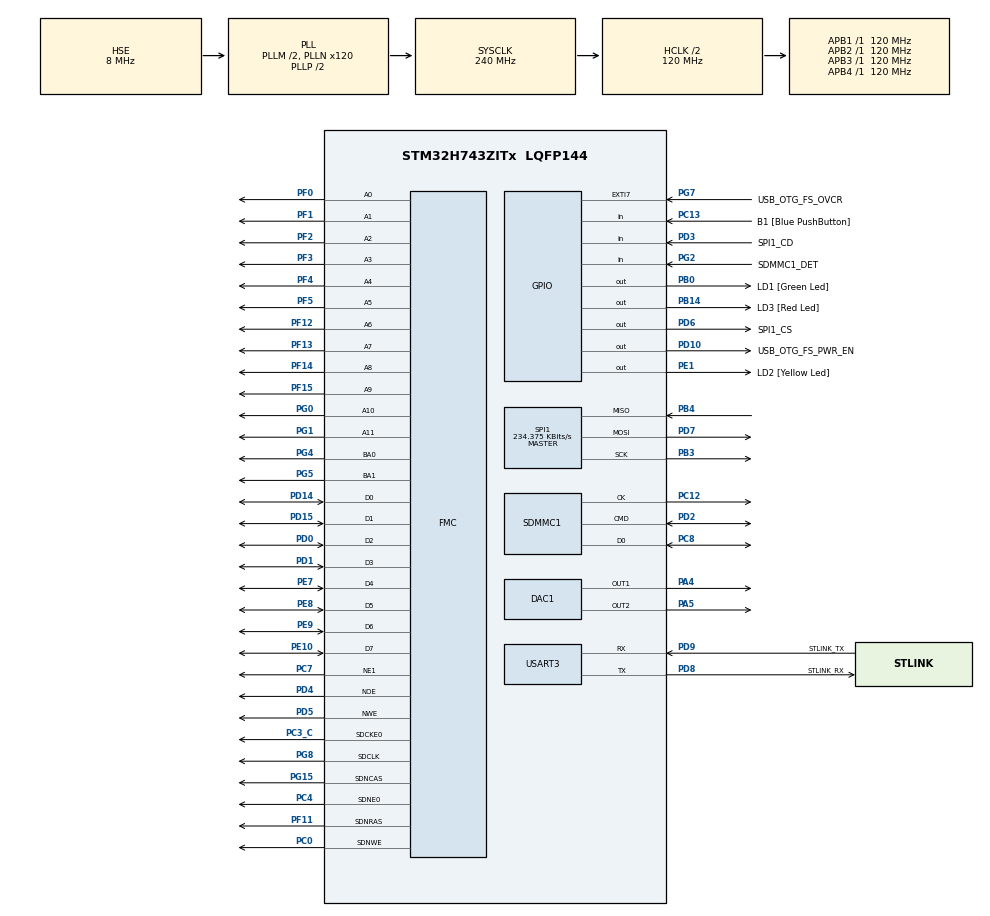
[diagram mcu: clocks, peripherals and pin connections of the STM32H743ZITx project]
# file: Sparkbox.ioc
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DAC1.DAC_Channel-DAC_OUT1=DAC_CHANNEL_1
DAC1.DAC_Channel-DAC_OUT2=DAC_CHANNEL_2
DAC1.DAC_Trigger-DAC_OUT1=DAC_TRIGGER_T6_TRGO
DAC1.DAC_Trigger-DAC_OUT2=DAC_TRIGGER_T6_TRGO
FATFS.BSP.number=1
FATFS._FS_REENTRANT=1
FATFS._USE_MUTEX=1
FATFS0.BSP.STBoard=false
FATFS0.BSP.api=Unknown
FATFS0.BSP.i2caddr=0
FATFS0.BSP.instance=PG2
FATFS0.BSP.ip=GPIO
FATFS0.BSP.mode=Input
FATFS0.BSP.name=Detect_SDIO
FATFS0.BSP.solution=PG2
FMC.CASLatency1=FMC_SDRAM_CAS_LATENCY_3
FMC.WriteOperation1=FMC_WRITE_OPERATION_ENABLE
FREERTOS.Tasks01=defaultTask,24,128,StartDefaultTask,Default,NULL,Dynamic,NULL,NULL;sdCardTask,8,1024,sdCardTaskFcn,Default,NULL,Dynamic,NULL,NULL
FREERTOS.configUSE_NEWLIB_REENTRANT=0
Mcu.Family=STM32H7
Mcu.Name=STM32H743ZITx
Mcu.Package=LQFP144
Mdma.MDMA_Channel0.Request0=SW
Mdma.MDMA_Channel0.RequestsNb=1
Mdma.MDMA_Channel0.SW.0.BlockCount=0
Mdma.MDMA_Channel0.SW.0.BlockDataLength=0
Mdma.MDMA_Channel0.SW.0.BufferTransferLength=1
Mdma.MDMA_Channel0.SW.0.CircularMode=MDMA_LINEAR_LIST
Mdma.MDMA_Channel0.SW.0.DataAlignment=MDMA_DATAALIGN_PACKENABLE
Mdma.MDMA_Channel0.SW.0.DestBlockAddressOffset=0
Mdma.MDMA_Channel0.SW.0.DestBurst=MDMA_DEST_BURST_SINGLE
Mdma.MDMA_Channel0.SW.0.DestDataSize=MDMA_DEST_DATASIZE_BYTE
Mdma.MDMA_Channel0.SW.0.DestinationInc=MDMA_DEST_INC_BYTE
Mdma.MDMA_Channel0.SW.0.DstAddress=0
Mdma.MDMA_Channel0.SW.0.Endianness=MDMA_LITTLE_ENDIANNESS_PRESERVE
Mdma.MDMA_Channel0.SW.0.Instance=MDMA_Channel0
Mdma.MDMA_Channel0.SW.0.MaskAddress=0
Mdma.MDMA_Channel0.SW.0.MaskData=0
Mdma.MDMA_Channel0.SW.0.Priority=MDMA_PRIORITY_HIGH
Mdma.MDMA_Channel0.SW.0.Rank=First
Mdma.MDMA_Channel0.SW.0.SourceBlockAddressOffset=0
Mdma.MDMA_Channel0.SW.0.SourceBurst=MDMA_SOURCE_BURST_SINGLE
Mdma.MDMA_Channel0.SW.0.SourceDataSize=MDMA_SRC_DATASIZE_BYTE
Mdma.MDMA_Channel0.SW.0.SourceInc=MDMA_SRC_INC_BYTE
Mdma.MDMA_Channel0.SW.0.SrcAddress=0
Mdma.MDMA_Channel0.SW.0.TransferTriggerMode=MDMA_BUFFER_TRANSFER
Mdma.MDMA_Channel1.Request0=SW
Mdma.MDMA_Channel1.RequestsNb=1
Mdma.MDMA_Channel1.SW.0.BlockCount=0
Mdma.MDMA_Channel1.SW.0.BlockDataLength=0
Mdma.MDMA_Channel1.SW.0.BufferTransferLength=1
Mdma.MDMA_Channel1.SW.0.CircularMode=MDMA_LINEAR_LIST
Mdma.MDMA_Channel1.SW.0.DataAlignment=MDMA_DATAALIGN_PACKENABLE
Mdma.MDMA_Channel1.SW.0.DestBlockAddressOffset=0
Mdma.MDMA_Channel1.SW.0.DestBurst=MDMA_DEST_BURST_SINGLE
Mdma.MDMA_Channel1.SW.0.DestDataSize=MDMA_DEST_DATASIZE_BYTE
Mdma.MDMA_Channel1.SW.0.DestinationInc=MDMA_DEST_INC_BYTE
Mdma.MDMA_Channel1.SW.0.DstAddress=0
Mdma.MDMA_Channel1.SW.0.Endianness=MDMA_LITTLE_ENDIANNESS_PRESERVE
Mdma.MDMA_Channel1.SW.0.Instance=MDMA_Channel1
Mdma.MDMA_Channel1.SW.0.MaskAddress=0
Mdma.MDMA_Channel1.SW.0.MaskData=0
Mdma.MDMA_Channel1.SW.0.Priority=MDMA_PRIORITY_LOW
Mdma.MDMA_Channel1.SW.0.Rank=First
Mdma.MDMA_Channel1.SW.0.SourceBlockAddressOffset=0
Mdma.MDMA_Channel1.SW.0.SourceBurst=MDMA_SOURCE_BURST_SINGLE
Mdma.MDMA_Channel1.SW.0.SourceDataSize=MDMA_SRC_DATASIZE_BYTE
Mdma.MDMA_Channel1.SW.0.SourceInc=MDMA_SRC_INC_BYTE
Mdma.MDMA_Channel1.SW.0.SrcAddress=0
Mdma.MDMA_Channel1.SW.0.TransferTriggerMode=MDMA_BUFFER_TRANSFER
Mdma.RequestSet0=MDMA_Channel0
Mdma.RequestSet1=MDMA_Channel1
Mdma.RequestSetsNb=2
NVIC.MDMA_IRQn=true\:5\:0\:false\:false\:true\:true\:false\:true
NVIC.PriorityGroup=NVIC_PRIORITYGROUP_4
NVIC.SDMMC1_IRQn=true\:5\:0\:false\:false\:true\:true\:true\:true
NVIC.TIM6_DAC_IRQn=true\:5\:0\:false\:false\:true\:true\:true\:true
NVIC.TIM7_IRQn=true\:15\:0\:false\:false\:true\:false\:false\:true
NVIC.TimeBase=TIM7_IRQn
NVIC.TimeBaseIP=TIM7
PA4.Signal=COMP_DAC11_group
PA5.Signal=COMP_DAC12_group
PB0.GPIO_Label=LD1 [Green Led]
PB0.Signal=GPIO_Output
PB14.GPIO_Label=LD3 [Red Led]
PB14.PinAttribute=Free
PB14.Signal=GPIO_Output
PB3\ (JTDO/TRACESWO).Mode=Full_Duplex_Master
PB3\ (JTDO/TRACESWO).Signal=SPI1_SCK
PB4\ (NJTRST).Mode=Full_Duplex_Master
PB4\ (NJTRST).Signal=SPI1_MISO
PC0.Signal=FMC_SDNWE
PC12.Mode=SD_1_bit
PC12.Signal=SDMMC1_CK
PC13.GPIO_Label=B1 [Blue PushButton]
PC13.Signal=GPIO_Input
PC14-OSC32_IN\ (OSC32_IN).Mode=LSE-External-Oscillator
PC14-OSC32_IN\ (OSC32_IN).Signal=RCC_OSC32_IN
PC15-OSC32_OUT\ (OSC32_OUT).Mode=LSE-External-Oscillator
PC15-OSC32_OUT\ (OSC32_OUT).Signal=RCC_OSC32_OUT
PC3_C.Mode=SdramChipSelect1_1
PC3_C.Signal=FMC_SDCKE0
PC4.Mode=SdramChipSelect1_1
PC4.Signal=FMC_SDNE0
PC7.Mode=NorPsramChipSelect1_1
PC7.Signal=FMC_NE1
PC8.Mode=SD_1_bit
PC8.Signal=SDMMC1_D0
PD0.Signal=FMC_D2_DA2
PD1.Signal=FMC_D3_DA3
PD10.GPIO_Label=USB_OTG_FS_PWR_EN
PD10.Signal=GPIO_Output
PD14.Signal=FMC_D0_DA0
PD15.Signal=FMC_D1_DA1
PD2.Mode=SD_1_bit
PD2.Signal=SDMMC1_CMD
PD3.GPIO_Label=SPI1_CD
PD3.Signal=GPIO_Input
PD4.Signal=FMC_NOE
PD5.Signal=FMC_NWE
PD6.GPIO_Label=SPI1_CS
PD6.Signal=GPIO_Output
PD7.Mode=Full_Duplex_Master
PD7.Signal=SPI1_MOSI
PD8.GPIO_Label=STLINK_RX
PD8.Mode=Asynchronous
PD8.Signal=USART3_TX
PD9.GPIO_Label=STLINK_TX
PD9.Mode=Asynchronous
PD9.Signal=USART3_RX
PE1.GPIO_Label=LD2 [Yellow Led]
PE1.Signal=GPIO_Output
PE10.Signal=FMC_D7_DA7
PE7.Signal=FMC_D4_DA4
PE8.Signal=FMC_D5_DA5
PE9.Signal=FMC_D6_DA6
PF0.Signal=FMC_A0
PF1.Signal=FMC_A1
PF11.Signal=FMC_SDNRAS
PF12.Signal=FMC_A6
PF13.Signal=FMC_A7
PF14.Signal=FMC_A8
PF15.Signal=FMC_A9
PF2.Signal=FMC_A2
PF3.Signal=FMC_A3
PF4.Signal=FMC_A4
PF5.Signal=FMC_A5
PG0.Signal=FMC_A10
PG1.Signal=FMC_A11
PG15.Signal=FMC_SDNCAS
PG2.GPIO_Label=SDMMC1_DET
PG2.Signal=GPIO_Input
PG4.Signal=FMC_A14_BA0
PG5.Signal=FMC_A15_BA1
PG7.GPIO_Label=USB_OTG_FS_OVCR
PG7.Signal=GPXTI7
PG8.Signal=FMC_SDCLK
PH0-OSC_IN\ (PH0).Mode=HSE-External-Clock-Source
PH0-OSC_IN\ (PH0).Signal=RCC_OSC_IN
PH1-OSC_OUT\ (PH1).Signal=RCC_OSC_OUT
ProjectManager.HeapSize=0x200
ProjectManager.StackSize=0x400
ProjectManager.TargetToolchain=STM32CubeIDE
RCC.ADCFreq_Value=96000000
RCC.APB1Freq_Value=120000000
RCC.APB2Freq_Value=120000000
RCC.APB3Freq_Value=120000000
RCC.APB4Freq_Value=120000000
RCC.CortexFreq_Value=240000000
RCC.DIVM1=2
RCC.DIVM2=2
RCC.DIVN1=120
RCC.DIVN2=48
RCC.DIVN3=128
RCC.DIVQ1=4
RCC.DIVQ2=4
RCC.DIVR2=4
RCC.FMCCLockSelection=RCC_FMCCLKSOURCE_PLL2
RCC.HCLKFreq_Value=120000000
RCC.HPRE=RCC_HCLK_DIV2
RCC.HSE_VALUE=8000000
RCC.PLL1_VCI_Range-AdvancedSettings=RCC_PLL1VCIRANGE_0
RCC.PLL1_VCO_SEL-AdvancedSettings=RCC_PLL1VCOWIDE
RCC.PLL3_VCO_SEL-AdvancedSettings=RCC_PLL3VCOWIDE
RCC.PLLFRACN=0
RCC.PLLSourceVirtual=RCC_PLLSOURCE_HSE
RCC.PWR_Regulator_Voltage_Scale=PWR_REGULATOR_VOLTAGE_SCALE2
RCC.SDMMC1CLockSelection=RCC_SDMMCCLKSOURCE_PLL2
RCC.SYSCLKFreq_VALUE=240000000
RCC.SYSCLKSource=RCC_SYSCLKSOURCE_PLLCLK
RCC.USART234578CLockSelection=RCC_USART234578CLKSOURCE_PLL2
RCC.USBFreq_Value=120000000
SH.COMP_DAC11_group.0=DAC1_OUT1,DAC_OUT1
SH.COMP_DAC12_group.0=DAC1_OUT2,DAC_OUT2
SH.FMC_A0.0=FMC_A0,12b-sda1
SH.FMC_A0.1=FMC_A0,12b-a1
SH.FMC_A1.0=FMC_A1,12b-sda1
SH.FMC_A1.1=FMC_A1,12b-a1
SH.FMC_A10.0=FMC_A10,12b-sda1
SH.FMC_A10.1=FMC_A10,12b-a1
SH.FMC_A11.0=FMC_A11,12b-sda1
SH.FMC_A11.1=FMC_A11,12b-a1
SH.FMC_A14_BA0.0=FMC_BA0,FourSdramBanks1
SH.FMC_A15_BA1.0=FMC_BA1,FourSdramBanks1
SH.FMC_A2.0=FMC_A2,12b-sda1
SH.FMC_A2.1=FMC_A2,12b-a1
SH.FMC_A3.0=FMC_A3,12b-sda1
SH.FMC_A3.1=FMC_A3,12b-a1
SH.FMC_A4.0=FMC_A4,12b-sda1
SH.FMC_A4.1=FMC_A4,12b-a1
SH.FMC_A5.0=FMC_A5,12b-sda1
SH.FMC_A5.1=FMC_A5,12b-a1
SH.FMC_A6.0=FMC_A6,12b-sda1
SH.FMC_A6.1=FMC_A6,12b-a1
SH.FMC_A7.0=FMC_A7,12b-sda1
SH.FMC_A7.1=FMC_A7,12b-a1
SH.FMC_A8.0=FMC_A8,12b-sda1
SH.FMC_A8.1=FMC_A8,12b-a1
SH.FMC_A9.0=FMC_A9,12b-sda1
SH.FMC_A9.1=FMC_A9,12b-a1
SH.FMC_D0_DA0.0=FMC_D0,sd-8b-d1
SH.FMC_D0_DA0.1=FMC_D0,8b-d1
SH.FMC_D1_DA1.0=FMC_D1,sd-8b-d1
SH.FMC_D1_DA1.1=FMC_D1,8b-d1
SH.FMC_D2_DA2.0=FMC_D2,sd-8b-d1
SH.FMC_D2_DA2.1=FMC_D2,8b-d1
SH.FMC_D3_DA3.0=FMC_D3,sd-8b-d1
SH.FMC_D3_DA3.1=FMC_D3,8b-d1
SH.FMC_D4_DA4.0=FMC_D4,sd-8b-d1
SH.FMC_D4_DA4.1=FMC_D4,8b-d1
SH.FMC_D5_DA5.0=FMC_D5,sd-8b-d1
SH.FMC_D5_DA5.1=FMC_D5,8b-d1
SH.FMC_D6_DA6.0=FMC_D6,sd-8b-d1
SH.FMC_D6_DA6.1=FMC_D6,8b-d1
SH.FMC_D7_DA7.0=FMC_D7,sd-8b-d1
SH.FMC_D7_DA7.1=FMC_D7,8b-d1
SH.FMC_NOE.0=FMC_NOE,Sram1
SH.FMC_NWE.0=FMC_NWE,Sram1
SH.FMC_SDCLK.0=FMC_SDCLK,12b-sda1
SH.FMC_SDNCAS.0=FMC_SDNCAS,12b-sda1
SH.FMC_SDNRAS.0=FMC_SDNRAS,12b-sda1
SH.FMC_SDNWE.0=FMC_SDNWE,12b-sda1
SPI1.BaudRatePrescaler=SPI_BAUDRATEPRESCALER_256
SPI1.CalculateBaudRate=234.375 KBits/s
SPI1.DataSize=SPI_DATASIZE_8BIT
SPI1.Direction=SPI_DIRECTION_2LINES
SPI1.Mode=SPI_MODE_MASTER
SPI1.VirtualType=VM_MASTER
TIM6.AutoReloadPreload=TIM_AUTORELOAD_PRELOAD_ENABLE
TIM6.Period=24
TIM6.Prescaler=99
TIM6.TIM_MasterOutputTrigger=TIM_TRGO_UPDATE
USART3.VirtualMode-Asynchronous=VM_ASYNC
VP_FATFS_VS_SDIO.Mode=SDIO
VP_FREERTOS_VS_CMSIS_V2.Mode=CMSIS_V2
VP_RNG_VS_RNG.Mode=RNG_Activate
VP_SYS_VS_tim7.Mode=TIM7
VP_TIM6_VS_ClockSourceINT.Mode=Enable_Timer
board=NUCLEO-H743ZI2

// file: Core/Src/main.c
/* USER CODE BEGIN Header */
/**
  ******************************************************************************
  * @file           : main.c
  * @brief          : Main program body
  ******************************************************************************
  * @attention
  *
  * <h2><center>&copy; Copyright (c) 2021 STMicroelectronics.
  * All rights reserved.</center></h2>
  *
  * This software component is licensed by ST under Ultimate Liberty license
  * SLA0044, the "License"; You may not use this file except in compliance with
  * the License. You may obtain a copy of the License at:
  *                             www.st.com/SLA0044
  *
  ******************************************************************************
  */
/* USER CODE END Header */
#include "main.h"
#include "cmsis_os.h"
#include "dac.h"
#include "fatfs.h"
#include "mdma.h"
#include "rng.h"
#include "sdmmc.h"
#include "spi.h"
#include "tim.h"
#include "usart.h"
#include "gpio.h"
#include "fmc.h"

void SystemClock_Config(void);
void PeriphCommonClock_Config(void);
void MX_FREERTOS_Init(void);

int main(void)
{

  /* MCU Configuration--------------------------------------------------------*/

  /* Reset of all peripherals, Initializes the Flash interface and the Systick. */
  HAL_Init();

  /* Configure the system clock */
  SystemClock_Config();

/* Configure the peripherals common clocks */
  PeriphCommonClock_Config();

  /* Initialize all configured peripherals */
  MX_GPIO_Init();
  MX_USART3_UART_Init();
  MX_DAC1_Init();
  MX_FMC_Init();
  MX_RNG_Init();
  MX_SDMMC1_SD_Init();
  MX_SPI1_Init();
  MX_FATFS_Init();
  MX_MDMA_Init();
  MX_TIM6_Init();

  /* Init scheduler */
  osKernelInitialize();  /* Call init function for freertos objects (in freertos.c) */
  MX_FREERTOS_Init();
  /* Start scheduler */
  osKernelStart();

  /* We should never get here as control is now taken by the scheduler */
  /* Infinite loop */
  while (1)
  {

  }
}

void SystemClock_Config(void)
{
  RCC_OscInitTypeDef RCC_OscInitStruct = {0};
  RCC_ClkInitTypeDef RCC_ClkInitStruct = {0};

  /** Supply configuration update enable
  */
  HAL_PWREx_ConfigSupply(PWR_LDO_SUPPLY);
  /** Configure the main internal regulator output voltage
  */
  __HAL_PWR_VOLTAGESCALING_CONFIG(PWR_REGULATOR_VOLTAGE_SCALE2);

  while(!__HAL_PWR_GET_FLAG(PWR_FLAG_VOSRDY)) {}
  /** Macro to configure the PLL clock source
  */
  __HAL_RCC_PLL_PLLSOURCE_CONFIG(RCC_PLLSOURCE_HSE);
  /** Initializes the RCC Oscillators according to the specified parameters
  * in the RCC_OscInitTypeDef structure.
  */
  RCC_OscInitStruct.OscillatorType = RCC_OSCILLATORTYPE_HSI48|RCC_OSCILLATORTYPE_HSE;
  RCC_OscInitStruct.HSEState = RCC_HSE_BYPASS;
  RCC_OscInitStruct.HSI48State = RCC_HSI48_ON;
  RCC_OscInitStruct.PLL.PLLState = RCC_PLL_ON;
  RCC_OscInitStruct.PLL.PLLSource = RCC_PLLSOURCE_HSE;
  RCC_OscInitStruct.PLL.PLLM = 2;
  RCC_OscInitStruct.PLL.PLLN = 120;
  RCC_OscInitStruct.PLL.PLLP = 2;
  RCC_OscInitStruct.PLL.PLLQ = 4;
  RCC_OscInitStruct.PLL.PLLR = 2;
  RCC_OscInitStruct.PLL.PLLRGE = RCC_PLL1VCIRANGE_2;
  RCC_OscInitStruct.PLL.PLLVCOSEL = RCC_PLL1VCOWIDE;
  RCC_OscInitStruct.PLL.PLLFRACN = 0;
  if (HAL_RCC_OscConfig(&RCC_OscInitStruct) != HAL_OK)
  {
    Error_Handler();
  }
  /** Initializes the CPU, AHB and APB buses clocks
  */
  RCC_ClkInitStruct.ClockType = RCC_CLOCKTYPE_HCLK|RCC_CLOCKTYPE_SYSCLK
                              |RCC_CLOCKTYPE_PCLK1|RCC_CLOCKTYPE_PCLK2
                              |RCC_CLOCKTYPE_D3PCLK1|RCC_CLOCKTYPE_D1PCLK1;
  RCC_ClkInitStruct.SYSCLKSource = RCC_SYSCLKSOURCE_PLLCLK;
  RCC_ClkInitStruct.SYSCLKDivider = RCC_SYSCLK_DIV1;
  RCC_ClkInitStruct.AHBCLKDivider = RCC_HCLK_DIV2;
  RCC_ClkInitStruct.APB3CLKDivider = RCC_APB3_DIV1;
  RCC_ClkInitStruct.APB1CLKDivider = RCC_APB1_DIV1;
  RCC_ClkInitStruct.APB2CLKDivider = RCC_APB2_DIV1;
  RCC_ClkInitStruct.APB4CLKDivider = RCC_APB4_DIV1;

  if (HAL_RCC_ClockConfig(&RCC_ClkInitStruct, FLASH_LATENCY_2) != HAL_OK)
  {
    Error_Handler();
  }
}

void PeriphCommonClock_Config(void)
{
  RCC_PeriphCLKInitTypeDef PeriphClkInitStruct = {0};

  /** Initializes the peripherals clock
  */
  PeriphClkInitStruct.PeriphClockSelection = RCC_PERIPHCLK_FMC|RCC_PERIPHCLK_SDMMC
                              |RCC_PERIPHCLK_USART3;
  PeriphClkInitStruct.PLL2.PLL2M = 2;
  PeriphClkInitStruct.PLL2.PLL2N = 48;
  PeriphClkInitStruct.PLL2.PLL2P = 2;
  PeriphClkInitStruct.PLL2.PLL2Q = 4;
  PeriphClkInitStruct.PLL2.PLL2R = 4;
  PeriphClkInitStruct.PLL2.PLL2RGE = RCC_PLL2VCIRANGE_2;
  PeriphClkInitStruct.PLL2.PLL2VCOSEL = RCC_PLL2VCOWIDE;
  PeriphClkInitStruct.PLL2.PLL2FRACN = 0;
  PeriphClkInitStruct.FmcClockSelection = RCC_FMCCLKSOURCE_PLL2;
  PeriphClkInitStruct.SdmmcClockSelection = RCC_SDMMCCLKSOURCE_PLL2;
  PeriphClkInitStruct.Usart234578ClockSelection = RCC_USART234578CLKSOURCE_PLL2;
  if (HAL_RCCEx_PeriphCLKConfig(&PeriphClkInitStruct) != HAL_OK)
  {
    Error_Handler();
  }
}

void HAL_TIM_PeriodElapsedCallback(TIM_HandleTypeDef *htim)
{
  if (htim->Instance == TIM7) {
    HAL_IncTick();
  }
}

void Error_Handler(void)
{
  __disable_irq();
  while (1)
  {
  }
}

/************************ (C) COPYRIGHT STMicroelectronics *****END OF FILE****/

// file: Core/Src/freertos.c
/* USER CODE BEGIN Header */
/**
  ******************************************************************************
  * File Name          : freertos.c
  * Description        : Code for freertos applications
  ******************************************************************************
  * @attention
  *
  * <h2><center>&copy; Copyright (c) 2021 STMicroelectronics.
  * All rights reserved.</center></h2>
  *
  * This software component is licensed by ST under Ultimate Liberty license
  * SLA0044, the "License"; You may not use this file except in compliance with
  * the License. You may obtain a copy of the License at:
  *                             www.st.com/SLA0044
  *
  ******************************************************************************
  */
/* USER CODE END Header */

#include "FreeRTOS.h"
#include "task.h"
#include "main.h"
#include "cmsis_os.h"

/* USER CODE BEGIN Includes */
#include <stdio.h>
#include "fatfs.h"
/* USER CODE END Includes */

/* Definitions for defaultTask */
osThreadId_t defaultTaskHandle;
const osThreadAttr_t defaultTask_attributes = {
  .name = "defaultTask",
  .stack_size = 128 * 4,
  .priority = (osPriority_t) osPriorityNormal,
};
/* Definitions for sdCardTask */
osThreadId_t sdCardTaskHandle;
const osThreadAttr_t sdCardTask_attributes = {
  .name = "sdCardTask",
  .stack_size = 1024 * 4,
  .priority = (osPriority_t) osPriorityLow,
};

void StartDefaultTask(void *argument);
void sdCardTaskFcn(void *argument);

void MX_FREERTOS_Init(void); /* (MISRA C 2004 rule 8.1) */

void MX_FREERTOS_Init(void) {

  /* Create the thread(s) */
  /* creation of defaultTask */
  defaultTaskHandle = osThreadNew(StartDefaultTask, NULL, &defaultTask_attributes);

  /* creation of sdCardTask */
  sdCardTaskHandle = osThreadNew(sdCardTaskFcn, NULL, &sdCardTask_attributes);

}

void StartDefaultTask(void *argument)
{
  /* USER CODE BEGIN StartDefaultTask */
	printf("Hello world\r\n");
  /* Infinite loop */
  for(;;)
  {
    osDelay(1);
  }
  /* USER CODE END StartDefaultTask */
}

/* USER CODE BEGIN Header_sdCardTaskFcn */
/**
* @brief Function implementing the sdCardTask thread.
* @param argument: Not used
* @retval None
*/
uint32_t bytesWritten, bytesRead;
uint8_t wtext[] = "Maybe this will work";
uint8_t rtext[100];
/* USER CODE END Header_sdCardTaskFcn */
void sdCardTaskFcn(void *argument)
{
  /* USER CODE BEGIN sdCardTaskFcn */
	f_mount(&SDFatFS, (TCHAR const*)SDPath, 0);

	retSD = f_open(&SDFile, "textFile.txt", FA_CREATE_ALWAYS | FA_WRITE);
	if (retSD != FR_OK)
	{
		while (retSD-- > 0)
		{
			HAL_GPIO_WritePin(LD2_GPIO_Port, LD2_Pin, 1);
			osDelay(300);
			HAL_GPIO_WritePin(LD2_GPIO_Port, LD2_Pin, 0);
			osDelay(300);
		}
	}

	f_close(&SDFile);

  /* Infinite loop */
  for(;;)
  {
    osDelay(1);
  }
  /* USER CODE END sdCardTaskFcn */
}

/************************ (C) COPYRIGHT STMicroelectronics *****END OF FILE****/
